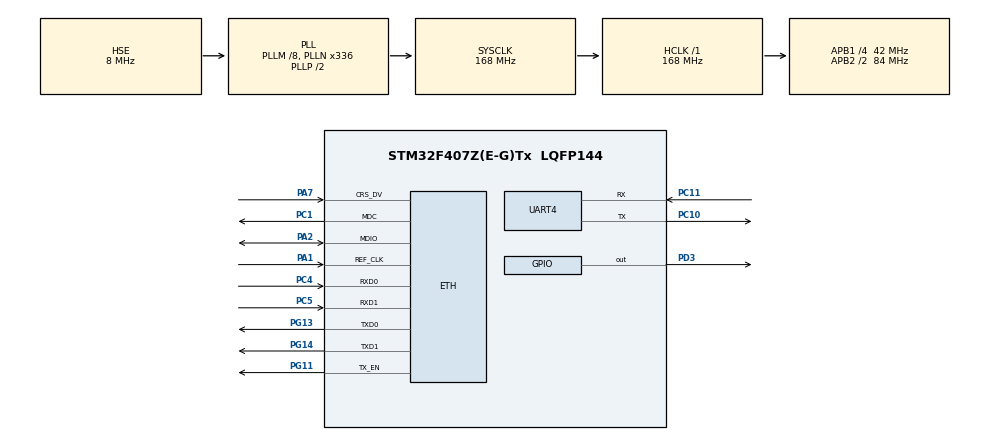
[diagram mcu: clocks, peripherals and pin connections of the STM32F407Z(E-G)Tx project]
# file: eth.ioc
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ETH.MediaInterface=HAL_ETH_RMII_MODE
LWIP.BSP.number=1
LWIP.ETH_RX_BUFFER_CNT=6
LWIP.GATEWAY_ADDRESS=0.0.0.0
LWIP.IP_ADDRESS=0.0.0.0
LWIP.LWIP_DHCP=1
LWIP.LWIP_NETIF_STATUS_CALLBACK=0
LWIP.MEM_SIZE=16384
LWIP.NETMASK_ADDRESS=0.0.0.0
LWIP.TCP_MSS=1460
LWIP.TCP_WND=2144
LWIP.Version=v2.1.2_Cube
LWIP0.BSP.STBoard=false
LWIP0.BSP.api=BSP_COMPONENT_DRIVER
LWIP0.BSP.component=LAN8742
LWIP0.BSP.instance=LAN8742
LWIP0.BSP.name=Driver_PHY
LWIP0.BSP.semaphore=S_LAN8742
LWIP0.BSP.solution=LAN8742
Mcu.Family=STM32F4
Mcu.Name=STM32F407Z(E-G)Tx
Mcu.Package=LQFP144
NVIC.PriorityGroup=NVIC_PRIORITYGROUP_4
PA1.Mode=RMII
PA1.Signal=ETH_REF_CLK
PA13.Mode=Serial_Wire
PA13.Signal=SYS_JTMS-SWDIO
PA14.Mode=Serial_Wire
PA14.Signal=SYS_JTCK-SWCLK
PA2.Mode=RMII
PA2.Signal=ETH_MDIO
PA7.Mode=RMII
PA7.Signal=ETH_CRS_DV
PC1.Mode=RMII
PC1.Signal=ETH_MDC
PC10.Mode=Asynchronous
PC10.Signal=UART4_TX
PC11.Mode=Asynchronous
PC11.Signal=UART4_RX
PC4.Mode=RMII
PC4.Signal=ETH_RXD0
PC5.Mode=RMII
PC5.Signal=ETH_RXD1
PD3.GPIO_Speed=GPIO_SPEED_FREQ_HIGH
PD3.PinState=GPIO_PIN_RESET
PD3.Signal=GPIO_Output
PG11.Mode=RMII
PG11.Signal=ETH_TX_EN
PG13.Mode=RMII
PG13.Signal=ETH_TXD0
PG14.Mode=RMII
PG14.Signal=ETH_TXD1
PH0-OSC_IN.Mode=HSE-External-Oscillator
PH0-OSC_IN.Signal=RCC_OSC_IN
PH1-OSC_OUT.Mode=HSE-External-Oscillator
PH1-OSC_OUT.Signal=RCC_OSC_OUT
ProjectManager.HeapSize=0x200
ProjectManager.StackSize=0x400
ProjectManager.TargetToolchain=MDK-ARM V5.32
RCC.48MHZClocksFreq_Value=84000000
RCC.AHBFreq_Value=168000000
RCC.APB1CLKDivider=RCC_HCLK_DIV4
RCC.APB1Freq_Value=42000000
RCC.APB1TimFreq_Value=84000000
RCC.APB2CLKDivider=RCC_HCLK_DIV2
RCC.APB2Freq_Value=84000000
RCC.APB2TimFreq_Value=168000000
RCC.CortexFreq_Value=168000000
RCC.HCLKFreq_Value=168000000
RCC.HSE_VALUE=8000000
RCC.HSI_VALUE=16000000
RCC.LSE_VALUE=32768
RCC.PLLM=8
RCC.PLLN=336
RCC.PLLSourceVirtual=RCC_PLLSOURCE_HSE
RCC.SYSCLKFreq_VALUE=168000000
RCC.SYSCLKSource=RCC_SYSCLKSOURCE_PLLCLK
RCC.VCOOutputFreq_Value=336000000
UART4.VirtualMode=Asynchronous
VP_LWIP_VS_Enabled.Mode=Enabled
board=custom

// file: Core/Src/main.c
/* USER CODE BEGIN Header */
/**
  ******************************************************************************
  * @file           : main.c
  * @brief          : Main program body
  ******************************************************************************
  * @attention
  *
  * Copyright (c) 2026 STMicroelectronics.
  * All rights reserved.
  *
  * This software is licensed under terms that can be found in the LICENSE file
  * in the root directory of this software component.
  * If no LICENSE file comes with this software, it is provided AS-IS.
  *
  ******************************************************************************
  */
/* USER CODE END Header */
#include "main.h"
#include "lwip.h"
#include "usart.h"
#include "gpio.h"

/* USER CODE BEGIN Includes */
#include "relay.h"          // <--- 添加继电器头文件
#include "buzzer.h"         // <--- 蜂鸣器（温度报警）
#include "bsp_delay.h"
#include "flowmeter.h"
#include "pressure_sensor.h"
#include "ds18b20_dual.h"
#include "app_host.h"
#include "app_tcp.h"      // <--- TCP 上位机通讯（JSON 协议）
/* USER CODE END Includes */

/* USER CODE BEGIN PV */
uint8_t ETH_MAC_ADDR[6] = {0x00, 0x80, 0xE1, 0x00, 0x00, 0x00};
extern struct netif gnetif;
/* USER CODE END PV */

void SystemClock_Config(void);
/* USER CODE BEGIN PFP */
extern ETH_HandleTypeDef heth;
void MX_ETH_Init(void);
/* USER CODE END PFP */

int main(void)
{

  /* MCU Configuration--------------------------------------------------------*/

  /* Reset of all peripherals, Initializes the Flash interface and the Systick. */
  HAL_Init();

  /* Configure the system clock */
  SystemClock_Config();

  /* Initialize all configured peripherals */
  MX_GPIO_Init();
  MX_UART4_Init();
  /* USER CODE BEGIN 2 */
 printf("\r\n===== BOOT =====\r\n");
  printf("PD3 reset...\r\n");

  // 标准复位时序
  HAL_GPIO_WritePin(GPIOD, GPIO_PIN_3, GPIO_PIN_RESET);
  HAL_Delay(50);
  HAL_GPIO_WritePin(GPIOD, GPIO_PIN_3, GPIO_PIN_SET);
  HAL_Delay(2000);  // 筿 PHY 自协商，比之前长丿炿

  printf("PD3 released, calling MX_ETH_Init...\r\n");

  MX_ETH_Init();

  printf("Calling MX_LWIP_Init...\r\n");
  MX_LWIP_Init();
  HAL_ETH_Start_IT(&heth);   /* 中断模式接收（低层 ethernetif 已 Start_IT，此处保持一致） */
  // 打印 MAC / 链路状态（DHCP 模式下 IP 此时尚未分配，先显示 0.0.0.0）
  struct netif *n = &gnetif;
  printf("MAC: %02X:%02X:%02X:%02X:%02X:%02X\r\n",
         ETH_MAC_ADDR[0], ETH_MAC_ADDR[1], ETH_MAC_ADDR[2],
         ETH_MAC_ADDR[3], ETH_MAC_ADDR[4], ETH_MAC_ADDR[5]);
  printf("netif up=%d, link=%d\r\n", netif_is_up(n), netif_is_link_up(n));
  printf("===== DHCP started, waiting for router to assign IP =====\r\n");

  // <--- 新增：初始化继电器（默认全部断开）
  Relay_Init();
  printf("Relay initialized (all OFF).\r\n");

  // <--- 新增：初始化蜂鸣器（温度报警用，默认不响）
  Buzzer_Init();

  // <--- 新增：初始化各传感器（DWT 延时必须最先，供 1-Wire / 软 I2C 用）
  BSP_Delay_Init();
  FlowMeter_Init();
  PressureSensor_Init();
	PressureSensor_CalibrateZero();
  DS18B20_Dual_Init();
  printf("Sensors initialized.\r\n");

  // <--- 新增：启动 TIM6 定时采集 + UART4 接收（上位机模拟）
  AppHost_Init();

  // <--- 新增：启动 TCP 客户端（主动连接后端服务器，JSON 协议）
  AppTcp_Init();
  printf("TCP client connecting to 192.168.1.1:8088 ...\r\n");

  /* USER CODE END 2 */

  /* Infinite loop */
  /* USER CODE BEGIN WHILE */
  while (1)
  {
	  MX_LWIP_Process();
	   static int arp_sent = 0;
    if (netif_default && (netif_default->flags & NETIF_FLAG_LINK_UP) && !arp_sent) {
        ip4_addr_t dst;
        IP4_ADDR(&dst, 192, 168, 1, 11);
        arp_sent = 1;
        etharp_request(netif_default, &dst);
    }
	    static uint32_t tick = 0;
    if (HAL_GetTick() - tick > 2000)
    {
        tick = HAL_GetTick();

          uint32_t bsr = 0;
        HAL_ETH_ReadPHYRegister(&heth, 0, PHY_BSR, &bsr);
        printf("alive... up=%d link=%d ip=%s phy_bsr=0x%08lX\r\n",
               netif_is_up(&gnetif),
               netif_is_link_up(&gnetif),
               ip4addr_ntoa(netif_ip4_addr(&gnetif)),
               bsr);
    }

    // <--- 温度状态机：非阻塞推进（DS18B20 转换 750ms 期间主循环照常跑）
    DS18B20_Dual_Process();

    // <--- 上位机模拟：串口命令处理（调试/回退通道）
    AppHost_Process();

    // <--- TCP 客户端：断线重连驱动（主循环调用）
    AppTcp_Process();

    /* USER CODE END WHILE */

  }
}

void SystemClock_Config(void)
{
  RCC_OscInitTypeDef RCC_OscInitStruct = {0};
  RCC_ClkInitTypeDef RCC_ClkInitStruct = {0};

  /** Configure the main internal regulator output voltage
  */
  __HAL_RCC_PWR_CLK_ENABLE();
  __HAL_PWR_VOLTAGESCALING_CONFIG(PWR_REGULATOR_VOLTAGE_SCALE1);

  /** Initializes the RCC Oscillators according to the specified parameters
  * in the RCC_OscInitTypeDef structure.
  */
  RCC_OscInitStruct.OscillatorType = RCC_OSCILLATORTYPE_HSE;
  RCC_OscInitStruct.HSEState = RCC_HSE_ON;
  RCC_OscInitStruct.PLL.PLLState = RCC_PLL_ON;
  RCC_OscInitStruct.PLL.PLLSource = RCC_PLLSOURCE_HSE;
  RCC_OscInitStruct.PLL.PLLM = 8;
  RCC_OscInitStruct.PLL.PLLN = 336;
  RCC_OscInitStruct.PLL.PLLP = RCC_PLLP_DIV2;
  RCC_OscInitStruct.PLL.PLLQ = 4;
  if (HAL_RCC_OscConfig(&RCC_OscInitStruct) != HAL_OK)
  {
    Error_Handler();
  }

  /** Initializes the CPU, AHB and APB buses clocks
  */
  RCC_ClkInitStruct.ClockType = RCC_CLOCKTYPE_HCLK|RCC_CLOCKTYPE_SYSCLK
                              |RCC_CLOCKTYPE_PCLK1|RCC_CLOCKTYPE_PCLK2;
  RCC_ClkInitStruct.SYSCLKSource = RCC_SYSCLKSOURCE_PLLCLK;
  RCC_ClkInitStruct.AHBCLKDivider = RCC_SYSCLK_DIV1;
  RCC_ClkInitStruct.APB1CLKDivider = RCC_HCLK_DIV4;
  RCC_ClkInitStruct.APB2CLKDivider = RCC_HCLK_DIV2;

  if (HAL_RCC_ClockConfig(&RCC_ClkInitStruct, FLASH_LATENCY_5) != HAL_OK)
  {
    Error_Handler();
  }
}

/* USER CODE BEGIN 4 */
#include <stdio.h>

extern UART_HandleTypeDef huart4;

int fputc(int ch, FILE *stream)
{
    HAL_UART_Transmit(&huart4, (uint8_t *)&ch, 1, 0xFFFF);
    return ch;
}

void MX_ETH_Init(void)
{
    heth.Instance = ETH;
    heth.Init.MACAddr = ETH_MAC_ADDR;
    heth.Init.MediaInterface = ETH_MEDIA_INTERFACE_RMII;

    printf(">>> HAL_ETH_Init start...\r\n");

    if (HAL_ETH_Init(&heth) != HAL_OK)
    {
        printf(">>> HAL_ETH_Init FAILED!\r\n");
        Error_Handler();
    }

    printf(">>> HAL_ETH_Init OK!\r\n");
}
/* USER CODE END 4 */

void Error_Handler(void)
{
  __disable_irq();
  while (1)
  {
  }
}
